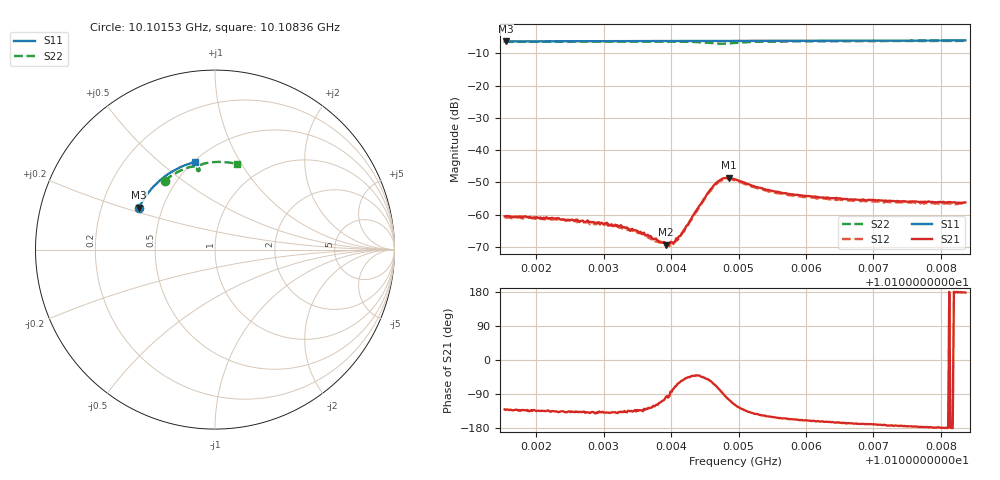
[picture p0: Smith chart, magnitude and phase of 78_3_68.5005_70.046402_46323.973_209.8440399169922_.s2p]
#  HZ  S  RI  R  50.00
! Rohde & Schwarz Vector Network Analyzer
! Rohde-Schwarz,ZNB20-2Port,1311601062101988,3.16
! Created: UTC 3/20/2024, 5:07:11 PM
! freq[Hz]  re:S11  im:S11  re:S21  im:S21  re:S12  im:S12  re:S22  im:S22
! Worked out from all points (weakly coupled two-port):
!   401 points, 10.10153 GHz to 10.10836 GHz, reference 50 ohm
!   highest |S21| = -48.60 dB at 10.10486 GHz (marker M1); lowest = -69.3 dB at 10.10392 GHz (marker M2)
!   lowest |S11| = -6.3 dB at 10.10155 GHz (marker M3), VSWR 2.87, Z = 18.4 + j11.2 ohm
!   |S11| at or under -10 dB: nowhere
!   |S22| runs from -7.0 to -6.1 dB; largest |S21 - S12| = 0.0004
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1.010153e10  -0.424 0.2326  -0.000608 -0.000717  -0.000525 -0.00072  -0.2801 0.3847
1.0101548e10  -0.4232 0.2334  -0.000629 -0.000707  -0.000545 -0.000728  -0.2795 0.3853
1.0102316e10  -0.4008 0.2745  -0.000647 -0.000601  -0.000562 -0.000631  -0.2386 0.4145
1.0102675e10  -0.3891 0.2929  -0.000585 -0.000546  -0.000508 -0.000543  -0.2183 0.4263
1.0103016e10  -0.3771 0.31  -0.000549 -0.000481  -0.000483 -0.000511  -0.1982 0.4369
1.0103273e10  -0.3675 0.3223  -0.000471 -0.000433  -0.00042 -0.000441  -0.1826 0.4443
1.0103512e10  -0.3582 0.3335  -0.000381 -0.000388  -0.000333 -0.000395  -0.1674 0.4507
1.0103819e10  -0.3459 0.3474  -0.000152 -0.000357  -0.000123 -0.000346  -0.1467 0.4576
1.0103922e10  -0.3419 0.352  -4.56e-05 -0.00034  -4.68e-05 -0.000339  -0.1394 0.4596
1.0104007e10  -0.3382 0.3557  3.69e-05 -0.000372  6.95e-05 -0.000345  -0.133 0.461
1.0104058e10  -0.3359 0.3579  0.000131 -0.000356  0.000136 -0.000357  -0.129 0.4617
1.0104127e10  -0.3331 0.3608  0.000239 -0.000398  0.00026 -0.000366  -0.1236 0.4625
1.0104554e10  -0.3143 0.3787  0.00137 -0.00175  0.00147 -0.00156  -0.0878 0.4524
1.0104656e10  -0.3096 0.3828  0.00119 -0.00276  0.00137 -0.00252  -0.0858 0.443
1.0104759e10  -0.3051 0.3869  0.000219 -0.00359  0.000502 -0.0034  -0.0918 0.4372
1.0104861e10  -0.3005 0.3908  -0.001 -0.00358  -0.000657 -0.00351  -0.0993 0.4414
1.0104947e10  -0.2966 0.394  -0.00167 -0.00309  -0.00133 -0.0031  -0.1005 0.4492
1.0105237e10  -0.2828 0.4052  -0.00216 -0.00168  -0.00192 -0.00184  -0.0846 0.4691
1.0105493e10  -0.2703 0.4143  -0.00203 -0.00116  -0.00184 -0.00126  -0.0661 0.4774
1.0106091e10  -0.24 0.4343  -0.00181 -0.000631  -0.00168 -0.000774  -0.0243 0.4859
1.0107235e10  -0.1784 0.4658  -0.00163 -0.00021  -0.00151 -0.000373  0.0512 0.4874
1.0108363e10  -0.1138 0.4877  -0.00154 5.21e-05  -0.00148 -0.000116  0.123 0.4773
